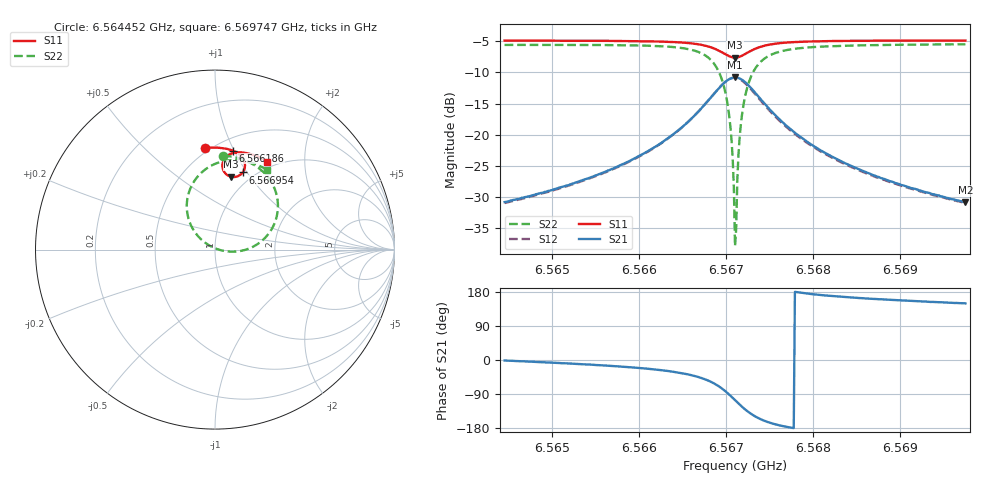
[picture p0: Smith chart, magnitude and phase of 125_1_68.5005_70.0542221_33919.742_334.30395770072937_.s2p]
#  HZ  S  RI  R  50.00
! Rohde & Schwarz Vector Network Analyzer
! Rohde-Schwarz,ZNB20-2Port,1311601062101988,3.16
! Created: UTC 3/20/2024, 5:09:16 PM
! freq[Hz]  re:S11  im:S11  re:S21  im:S21  re:S12  im:S12  re:S22  im:S22
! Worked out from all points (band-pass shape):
!   401 points, 6.564452 GHz to 6.569747 GHz, reference 50 ohm
!   highest |S21| = -10.81 dB at 6.5671 GHz (marker M1); lowest = -30.8 dB at 6.569747 GHz (marker M2)
!   |S21| within 3 dB of the highest: 6.566836 GHz to 6.567365 GHz (529.2 kHz wide, 0.00806 % of centre)
!   lowest |S11| = -7.6 dB at 6.5671 GHz (marker M3), VSWR 2.42, Z = 41.7 + j40.9 ohm
!   |S11| at or under -10 dB: nowhere
!   |S22| runs from -37.9 to -5.5 dB; largest |S21 - S12| = 0.014
!   S11 on the Smith chart (normalised r, x): 6.564452 GHz: 0.47, +0.79; 6.566186 GHz: 0.61, +0.99; 6.566954 GHz: 0.88, +0.96; 6.569747 GHz: 0.91, +1.32
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6.564452e9  -0.0555 0.5663  0.0288 -0.00065  0.0282 -0.00124  0.0444 0.5237
6.5653389e9  0.0175 0.5675  0.0421 -0.0083  0.0414 -0.00889  0.1295 0.5094
6.5661862e9  0.0975 0.552  0.0725 -0.0342  0.0715 -0.035  0.243 0.4547
6.5662259e9  0.1019 0.5503  0.0749 -0.037  0.0739 -0.0378  0.2502 0.4493
6.5665304e9  0.1376 0.5292  0.0973 -0.0725  0.0959 -0.0739  0.3122 0.379
6.5667422e9  0.162 0.4956  0.1106 -0.1309  0.108 -0.1336  0.3496 0.2668
6.5668614e9  0.1667 0.4623  0.0999 -0.1891  0.0951 -0.1926  0.3354 0.1559
6.5669541e9  0.1543 0.43  0.0611 -0.2446  0.0526 -0.2476  0.265 0.0522
6.5670335e9  0.1248 0.4079  -0.00627 -0.2792  -0.0182 -0.2784  0.1409 -0.00787
6.56706e9  0.1115 0.4048  -0.0346 -0.2826  -0.047 -0.2799  0.0897 -0.0118
6.5670864e9  0.0975 0.4046  -0.064 -0.2805  -0.0763 -0.2755  0.0375 -0.00496
6.5670997e9  0.0905 0.4057  -0.0785 -0.2771  -0.0906 -0.2712  0.0125 0.00258
6.5671129e9  0.0837 0.4075  -0.0926 -0.2725  -0.1042 -0.2654  -0.012 0.0126
6.5671262e9  0.0772 0.4102  -0.1059 -0.2663  -0.1171 -0.2583  -0.0351 0.0249
6.5671526e9  0.0653 0.4176  -0.1306 -0.2507  -0.1401 -0.241  -0.076 0.0558
6.5671924e9  0.0518 0.4321  -0.1592 -0.2208  -0.1661 -0.2095  -0.1216 0.1122
6.5672453e9  0.0425 0.4545  -0.1811 -0.1765  -0.1843 -0.1649  -0.1523 0.1924
6.5673115e9  0.0424 0.4806  -0.1872 -0.1257  -0.1869 -0.1154  -0.1542 0.2816
6.5675498e9  0.0799 0.53  -0.1437 -0.0282  -0.1406 -0.0237  -0.0556 0.4455
6.5679867e9  0.143 0.5423  -0.0822 0.00886  -0.0801 0.0101  0.0827 0.4978
6.5688737e9  0.2267 0.5221  -0.0396 0.0153  -0.0388 0.0157  0.2133 0.4805
6.5697474e9  0.2917 0.4907  -0.0247 0.0146  -0.0243 0.0147  0.2908 0.4451
